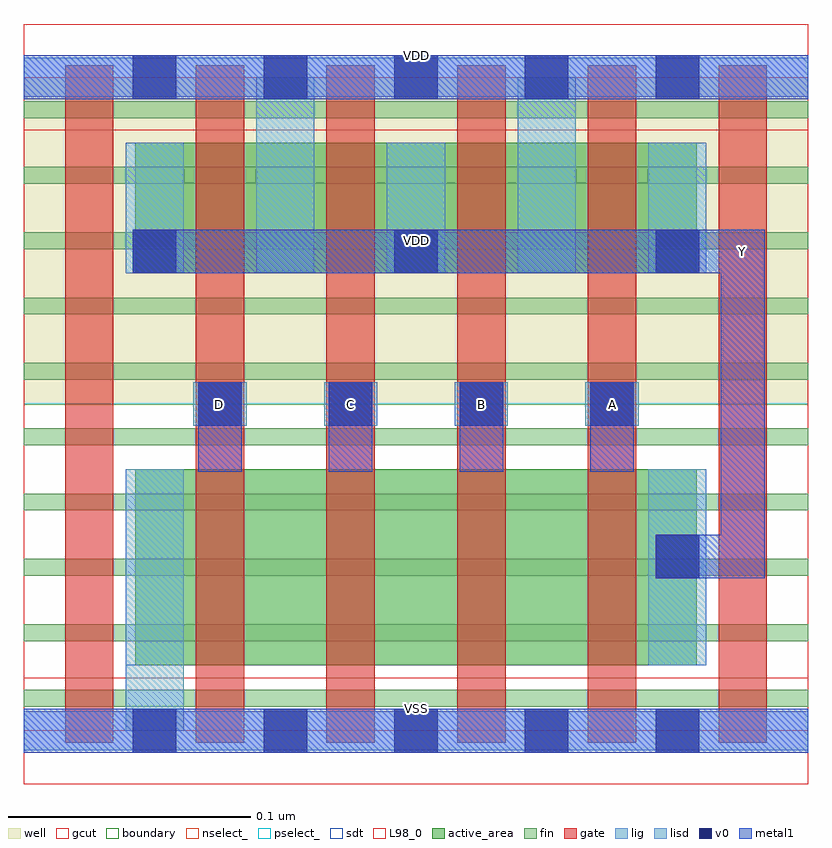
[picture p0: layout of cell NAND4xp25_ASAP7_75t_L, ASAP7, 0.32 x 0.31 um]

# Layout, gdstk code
import gdstk
lib = gdstk.Library(unit=1e-6, precision=2.5e-10)
def R(c, l, rs):  # rectangles x0, y0, x1, y1
    for r in rs: c.add(gdstk.rectangle(r[:2], r[2:], *l))
def A(c, l, x, y, w, h, nx, ny, dx, dy):  # array of equal rectangles
    R(c, l, [(x+i*dx, y+j*dy, x+i*dx+w, y+j*dy+h) for i in range(nx) for j in range(ny)])
def P(c, l, *ps):  # polygons
    for p in ps: c.add(gdstk.Polygon(p, *l))
well = (1, 0)
fin = (2, 0)
gate = (7, 0)
gcut = (10, 0)
active_area = (11, 0)
nselect_ = (12, 0)
pselect_ = (13, 0)
lig = (16, 0)
lisd = (17, 0)
v0 = (18, 0)
metal1 = (19, 0)
sdt = (88, 0)
L98_0 = (98, 0)
boundary = (100, 0)

nand4xp25_asap7_75t_l = lib.new_cell('NAND4xp25_ASAP7_75t_L')
R(nand4xp25_asap7_75t_l, well, [(0,0.135,0.324,0.27)])
A(nand4xp25_asap7_75t_l, fin, 0, 0.01, 0.324, 0.007, 1, 10, 0, 0.027)
A(nand4xp25_asap7_75t_l, gate, 0.017, -0.005, 0.02, 0.28, 6, 1, 0.054, 0)
R(nand4xp25_asap7_75t_l, gcut, [(0,-0.022,0.324,0.022), (0,0.248,0.324,0.292)])
R(nand4xp25_asap7_75t_l, active_area, [(0.046,0.027,0.278,0.108), (0.046,0.189,0.278,0.243)])
R(nand4xp25_asap7_75t_l, nselect_, [(0,0,0.324,0.135)])
R(nand4xp25_asap7_75t_l, pselect_, [(0,0.135,0.324,0.27)])
A(nand4xp25_asap7_75t_l, lig, 0.07, 0.126, 0.022, 0.018, 4, 1, 0.054, 0)
R(nand4xp25_asap7_75t_l, lig, [(0,-0.008,0.324,0.008), (0,0.262,0.324,0.278)])
A(nand4xp25_asap7_75t_l, lisd, 0.042, 0.189, 0.024, 0.054, 3, 1, 0.108, 0)
R(nand4xp25_asap7_75t_l, lisd, [(0.042,0,0.066,0.108), (0.042,0,0.066,0.108), (0.258,0.027,0.282,0.108), (0.096,0.189,0.12,0.27), (0.096,0.189,0.12,0.27), (0.204,0.189,0.228,0.27), (0.204,0.189,0.228,0.27)])
A(nand4xp25_asap7_75t_l, v0, 0.045, -0.009, 0.018, 0.018, 5, 2, 0.054, 0.27)
A(nand4xp25_asap7_75t_l, v0, 0.072, 0.126, 0.018, 0.018, 4, 1, 0.054, 0)
A(nand4xp25_asap7_75t_l, v0, 0.045, 0.189, 0.018, 0.018, 3, 1, 0.108, 0)
R(nand4xp25_asap7_75t_l, v0, [(0.261,0.063,0.279,0.081)])
A(nand4xp25_asap7_75t_l, metal1, 0.072, 0.107, 0.018, 0.037, 4, 1, 0.054, 0)
A(nand4xp25_asap7_75t_l, metal1, 0.072, 0.126, 0.018, 0.018, 4, 1, 0.054, 0)
A(nand4xp25_asap7_75t_l, metal1, 0.045, 0.189, 0.018, 0.018, 3, 1, 0.108, 0)
R(nand4xp25_asap7_75t_l, metal1, [(0,-0.009,0.324,0.009), (0.261,0.063,0.279,0.081), (0,0.261,0.324,0.279)])
P(nand4xp25_asap7_75t_l, metal1, [(0.045,0.207),(0.045,0.189),(0.288,0.189),(0.288,0.081),(0.261,0.081),(0.261,0.063),(0.306,0.063),(0.306,0.207)])
A(nand4xp25_asap7_75t_l, sdt, 0.096, 0.189, 0.024, 0.054, 3, 1, 0.054, 0)
R(nand4xp25_asap7_75t_l, sdt, [(0.042,0.027,0.066,0.108), (0.042,0.027,0.066,0.108), (0.258,0.027,0.282,0.108), (0.042,0.189,0.066,0.243), (0.096,0.189,0.12,0.243), (0.204,0.189,0.228,0.243), (0.258,0.189,0.282,0.243)])
R(nand4xp25_asap7_75t_l, L98_0, [(0,0,0.324,0.27)])
R(nand4xp25_asap7_75t_l, boundary, [(0,0,0.324,0.27)])
nand4xp25_asap7_75t_l.add(gdstk.Label('VDD', (0.162,0.2025), layer=1, texttype=251))
nand4xp25_asap7_75t_l.add(gdstk.Label('VSS', (0.162,-0.0675), layer=3, texttype=251))
nand4xp25_asap7_75t_l.add(gdstk.Label('VSS', (0.162,0.009), layer=19, texttype=251))
nand4xp25_asap7_75t_l.add(gdstk.Label('VDD', (0.162,0.279), layer=19, texttype=251))
nand4xp25_asap7_75t_l.add(gdstk.Label('Y', (0.297,0.198), layer=19, texttype=251))
nand4xp25_asap7_75t_l.add(gdstk.Label('D', (0.081,0.135), layer=19, texttype=251))
nand4xp25_asap7_75t_l.add(gdstk.Label('C', (0.135,0.135), layer=19, texttype=251))
nand4xp25_asap7_75t_l.add(gdstk.Label('B', (0.189,0.135), layer=19, texttype=251))
nand4xp25_asap7_75t_l.add(gdstk.Label('A', (0.243,0.135), layer=19, texttype=251))

lib.write_gds('NAND4xp25_ASAP7_75t_L.gds')
